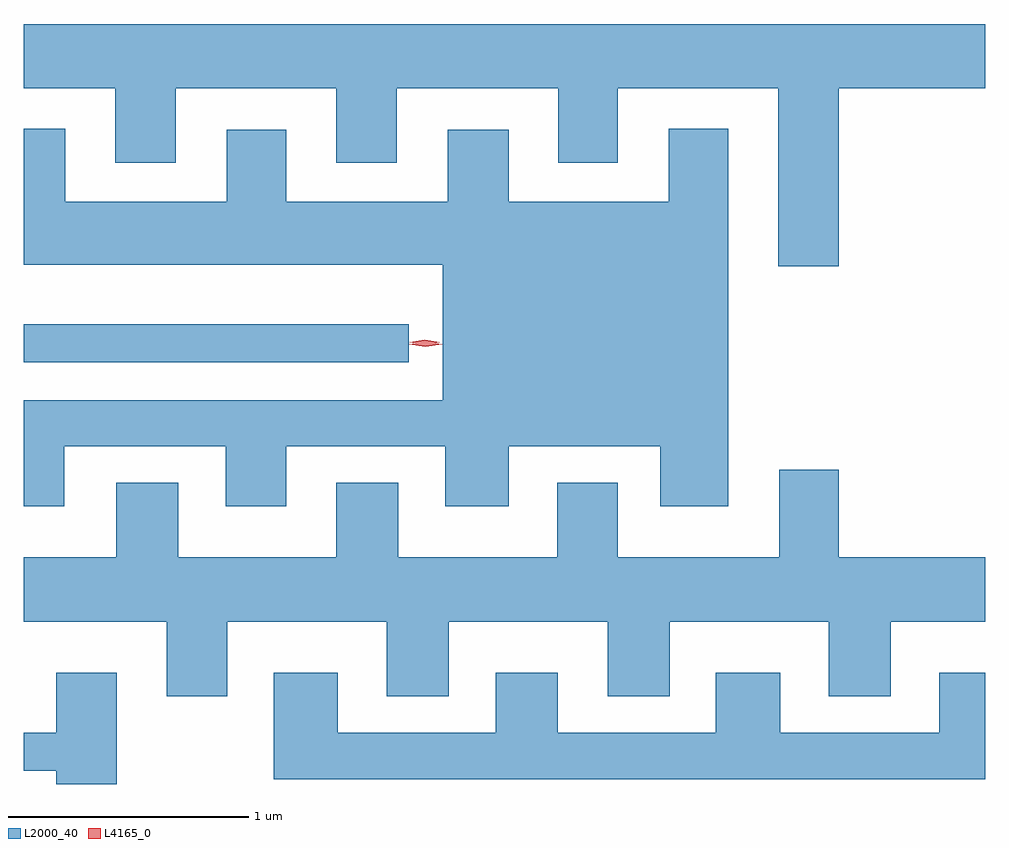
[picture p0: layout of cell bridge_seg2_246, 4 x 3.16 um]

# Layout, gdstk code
import gdstk
lib = gdstk.Library(unit=1e-6, precision=1e-09)
def R(c, l, rs):  # rectangles x0, y0, x1, y1
    for r in rs: c.add(gdstk.rectangle(r[:2], r[2:], *l))
def P(c, l, *ps):  # polygons
    for p in ps: c.add(gdstk.Polygon(p, *l))
L2000_40 = (2000, 40)
L4165_0 = (4165, 0)

bridge_seg2_246 = lib.new_cell('bridge_seg2_246')
R(bridge_seg2_246, L2000_40, [(637.427,1091.576,639.028,1091.734)])
P(bridge_seg2_246, L2000_40, [(640.819,1092.716),(641.427,1092.716),(641.427,1092.984),(637.427,1092.984),(637.427,1092.716),(637.806,1092.716),(637.806,1092.406),(638.059,1092.406),(638.059,1092.716),(638.726,1092.716),(638.726,1092.406),(638.979,1092.406),(638.979,1092.716),(639.651,1092.716),(639.651,1092.406),(639.899,1092.406),(639.899,1092.716),(640.566,1092.716),(640.566,1091.976),(640.819,1091.976)],
  [(637.594,1091.226),(638.266,1091.226),(638.266,1090.976),(638.519,1090.976),(638.519,1091.226),(639.181,1091.226),(639.181,1090.976),(639.444,1090.976),(639.444,1091.226),(640.076,1091.226),(640.076,1090.976),(640.359,1090.976),(640.359,1092.549),(640.111,1092.549),(640.111,1092.244),(639.444,1092.244),(639.444,1092.544),(639.191,1092.544),(639.191,1092.244),(638.519,1092.244),(638.519,1092.544),(638.271,1092.544),(638.271,1092.244),(637.599,1092.244),(637.599,1092.549),(637.427,1092.549),(637.427,1091.981),(639.171,1091.981),(639.171,1091.419),(637.427,1091.419),(637.427,1090.976),(637.594,1090.976)],
  [(639.899,1091.074),(639.646,1091.074),(639.646,1090.764),(638.984,1090.764),(638.984,1091.074),(638.726,1091.074),(638.726,1090.764),(638.069,1090.764),(638.069,1091.074),(637.811,1091.074),(637.811,1090.764),(637.427,1090.764),(637.427,1090.496),(638.021,1090.496),(638.021,1090.186),(638.274,1090.186),(638.274,1090.496),(638.936,1090.496),(638.936,1090.186),(639.194,1090.186),(639.194,1090.496),(639.856,1090.496),(639.856,1090.186),(640.114,1090.186),(640.114,1090.496),(640.776,1090.496),(640.776,1090.186),(641.034,1090.186),(641.034,1090.496),(641.427,1090.496),(641.427,1090.764),(640.819,1090.764),(640.819,1091.129),(640.571,1091.129),(640.571,1090.764),(639.899,1090.764)],
  [(637.814,1090.284),(637.561,1090.284),(637.561,1090.034),(637.427,1090.034),(637.427,1089.876),(637.561,1089.876),(637.561,1089.821),(637.814,1089.821)],
  [(641.427,1090.284),(641.236,1090.284),(641.236,1090.034),(640.574,1090.034),(640.574,1090.284),(640.306,1090.284),(640.306,1090.034),(639.649,1090.034),(639.649,1090.284),(639.391,1090.284),(639.391,1090.034),(638.734,1090.034),(638.734,1090.284),(638.466,1090.284),(638.466,1089.841),(641.427,1089.841)])
P(bridge_seg2_246, L4165_0, [(639.098,1091.641),(639.03,1091.651),(639.029,1091.651),(639.03,1091.652),(639.099,1091.661),(639.167,1091.652),(639.168,1091.651),(639.167,1091.651)],
  [(639.096,1091.649),(639.033,1091.659),(639.033,1091.659),(639.033,1091.66),(639.096,1091.669),(639.158,1091.66),(639.158,1091.66),(639.158,1091.659)])

lib.write_gds('bridge_seg2_246.gds')
